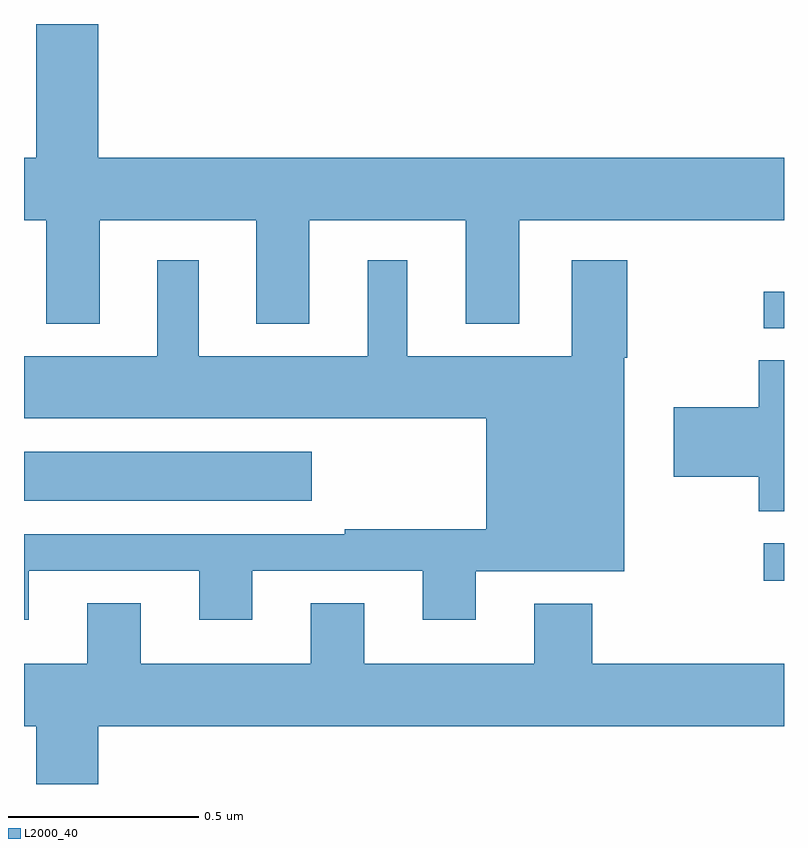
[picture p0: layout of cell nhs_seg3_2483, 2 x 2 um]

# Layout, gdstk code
import gdstk
lib = gdstk.Library(unit=1e-6, precision=1e-09)
def R(c, l, rs):  # rectangles x0, y0, x1, y1
    for r in rs: c.add(gdstk.rectangle(r[:2], r[2:], *l))
def P(c, l, *ps):  # polygons
    for p in ps: c.add(gdstk.Polygon(p, *l))
L2000_40 = (2000, 40)

nhs_seg3_2483 = lib.new_cell('nhs_seg3_2483')
R(nhs_seg3_2483, L2000_40, [(142.947,731.935,143,732.033), (141,732.146,141.757,732.274), (142.947,732.6,143,732.696)])
P(nhs_seg3_2483, L2000_40, [(141.199,732.884),(141.611,732.884),(141.611,732.611),(141.751,732.611),(141.751,732.884),(142.163,732.884),(142.163,732.611),(142.303,732.611),(142.303,732.884),(143,732.884),(143,733.048),(141.196,733.048),(141.196,733.4),(141.032,733.4),(141.032,733.048),(141,733.048),(141,732.884),(141.059,732.884),(141.059,732.611),(141.199,732.611)],
  [(141.013,731.961),(141.461,731.961),(141.461,731.832),(141.601,731.832),(141.601,731.961),(142.049,731.961),(142.049,731.832),(142.189,731.832),(142.189,731.96),(142.579,731.96),(142.579,732.522),(142.587,732.522),(142.587,732.778),(142.442,732.778),(142.442,732.526),(142.009,732.526),(142.009,732.778),(141.905,732.778),(141.905,732.526),(141.46,732.526),(141.46,732.778),(141.35,732.778),(141.35,732.526),(141,732.526),(141,732.362),(142.217,732.362),(142.217,732.07),(141.844,732.07),(141.844,732.057),(141,732.057),(141,731.832),(141.013,731.832)],
  [(143,732.515),(142.933,732.515),(142.933,732.392),(142.71,732.392),(142.71,732.209),(142.933,732.209),(142.933,732.118),(143,732.118)],
  [(141.196,731.552),(143,731.552),(143,731.716),(142.496,731.716),(142.496,731.875),(142.343,731.875),(142.343,731.716),(141.895,731.716),(141.895,731.876),(141.755,731.876),(141.755,731.716),(141.307,731.716),(141.307,731.876),(141.167,731.876),(141.167,731.716),(141,731.716),(141,731.552),(141.032,731.552),(141.032,731.4),(141.196,731.4)])

lib.write_gds('nhs_seg3_2483.gds')
